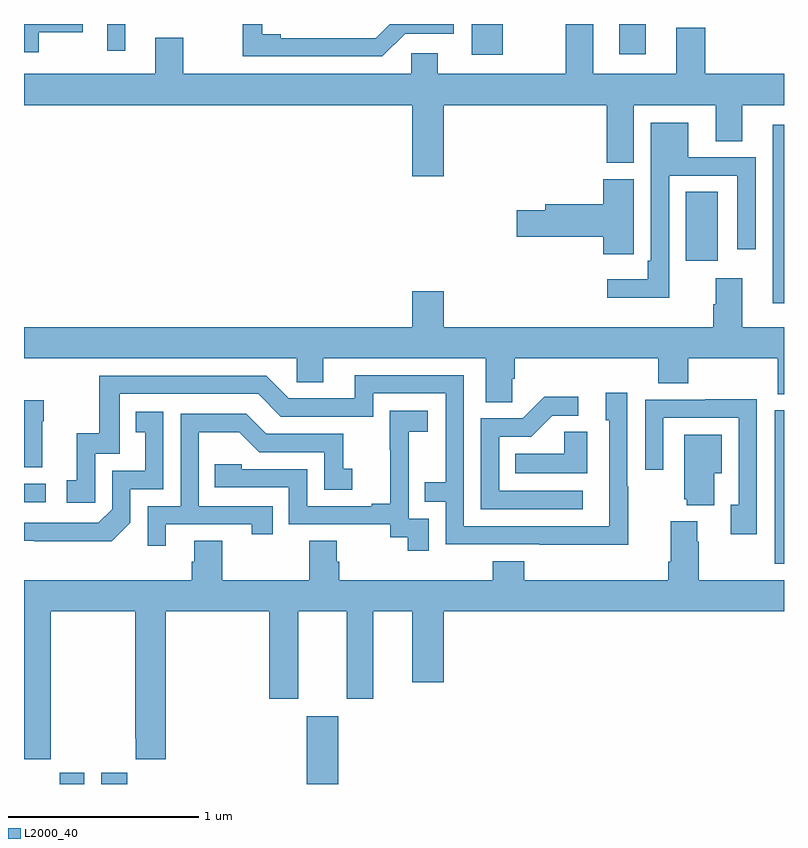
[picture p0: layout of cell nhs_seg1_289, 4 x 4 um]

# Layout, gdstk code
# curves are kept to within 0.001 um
import gdstk
lib = gdstk.Library(unit=1e-6, precision=1e-09)
def R(c, l, rs):  # rectangles x0, y0, x1, y1
    for r in rs: c.add(gdstk.rectangle(r[:2], r[2:], *l))
def P(c, l, *ps):  # polygons
    for p in ps: c.add(gdstk.Polygon(p, *l))
L2000_40 = (2000, 40)

nhs_seg1_289 = lib.new_cell('nhs_seg1_289')
R(nhs_seg1_289, L2000_40, [(127.187,508.199,127.318,508.258), (127.406,508.199,127.543,508.258), (128.489,508.199,128.653,508.555), (130.952,509.358,131,510.165), (127,509.682,127.114,509.778), (130.94,510.729,131,511.669), (130.484,510.954,130.651,511.316), (129.356,512.037,129.52,512.199), (130.133,512.04,130.273,512.199), (127.437,512.058,127.534,512.199)])
P(nhs_seg1_289, L2000_40, [(129.006,512.148),(129.261,512.148),(129.261,512.199),(128.925,512.199),(128.85,512.124),(128.35,512.124),(128.35,512.144),(128.254,512.144),(128.254,512.199),(128.152,512.199),(128.152,512.028),(128.886,512.028)],
  [(127.078,512.156),(127.309,512.156),(127.309,512.199),(127,512.199),(127,512.051),(127.078,512.051)],
  [(130.433,512.179),(130.433,511.936),(129.997,511.936),(129.997,512.199),(129.85,512.199),(129.85,511.936),(129.178,511.936),(129.178,512.046),(129.039,512.046),(129.039,511.936),(127.839,511.936),(127.839,512.126),(127.691,512.126),(127.691,511.936),(127,511.936),(127,511.772),(129.044,511.772),(129.044,511.398),(129.208,511.398),(129.208,511.772),(130.067,511.772),(130.067,511.468),(130.21,511.468),(130.21,511.772),(130.64,511.772),(130.64,511.582),(130.78,511.582),(130.78,511.772),(131,511.772),(131,511.936),(130.586,511.936),(130.586,512.179)],
  [(130.395,511.401),(130.755,511.401),(130.755,511.014),(130.851,511.014),(130.851,511.497),(130.495,511.497),(130.495,511.678),(130.299,511.678),(130.299,510.952),(130.283,510.952),(130.283,510.856),(130.071,510.856),(130.071,510.758),(130.395,510.758)],
  [(130.209,511.099),(130.21,511.099),(130.21,511.383),(130.049,511.383),(130.049,511.25),(129.743,511.25),(129.743,511.22),(129.594,511.22),(129.594,511.078),(130.049,511.078),(130.049,510.987),(130.209,510.987)],
  [(129.57,510.331),(129.584,510.331),(129.584,510.44),(130.337,510.44),(130.337,510.307),(130.497,510.307),(130.497,510.44),(130.966,510.44),(130.966,510.25),(131,510.25),(131,510.604),(130.78,510.604),(130.78,510.862),(130.64,510.862),(130.64,510.725),(130.628,510.725),(130.628,510.604),(129.208,510.604),(129.208,510.793),(129.044,510.793),(129.044,510.604),(127,510.604),(127,510.44),(128.436,510.44),(128.436,510.313),(128.575,510.313),(128.575,510.44),(129.431,510.44),(129.431,510.208),(129.57,510.208)],
  [(130.179,509.765),(130.176,509.765),(130.176,510.259),(130.061,510.259),(130.061,510.114),(130.08,510.114),(130.08,509.556),(129.315,509.556),(129.315,510.351),(128.741,510.351),(128.741,510.228),(128.394,510.228),(128.274,510.348),(127.395,510.348),(127.395,510.046),(127.277,510.046),(127.277,509.799),(127.224,509.799),(127.224,509.679),(127.374,509.679),(127.374,509.937),(127.503,509.937),(127.503,510.252),(128.232,510.252),(128.352,510.132),(128.838,510.132),(128.838,510.255),(129.219,510.255),(129.219,509.786),(129.109,509.786),(129.109,509.685),(129.219,509.685),(129.219,509.46),(130.179,509.459)],
  [(129.94,509.742),(129.501,509.742),(129.501,510.027),(129.67,510.027),(129.781,510.138),(129.916,510.138),(129.916,510.236),(129.737,510.236),(129.624,510.123),(129.405,510.123),(129.405,509.646),(129.94,509.646)],
  [(130.857,510.224),(130.585,510.224),(130.585,510.222),(130.269,510.222),(130.269,509.853),(130.365,509.853),(130.365,510.126),(130.761,510.126),(130.761,509.67),(130.721,509.67),(130.721,509.514),(130.857,509.514)],
  [(127.096,510.107),(127.104,510.107),(127.104,510.22),(127,510.22),(127,509.867),(127.096,509.867)],
  [(129.129,509.595),(129.024,509.595),(129.024,509.825),(129.026,509.825),(129.026,510.053),(129.124,510.053),(129.124,510.163),(128.926,510.163),(128.926,509.957),(128.927,509.957),(128.927,509.674),(128.831,509.674),(128.831,509.661),(128.49,509.661),(128.49,509.856),(128.145,509.856),(128.145,509.883),(128.005,509.883),(128.005,509.76),(128.394,509.76),(128.394,509.565),(128.928,509.565),(128.928,509.497),(129.021,509.497),(129.021,509.427),(129.129,509.427)],
  [(127.56,509.574),(127.56,509.751),(127.734,509.751),(127.734,510.157),(127.588,510.157),(127.588,510.051),(127.637,510.051),(127.637,509.847),(127.464,509.847),(127.464,509.646),(127.392,509.574),(127,509.574),(127,509.478),(127.054,509.477),(127.462,509.477)],
  [(127.747,509.565),(128.198,509.565),(128.198,509.514),(128.309,509.514),(128.309,509.661),(127.92,509.661),(127.92,510.05),(128.134,510.05),(128.238,509.946),(128.58,509.946),(128.58,509.748),(128.727,509.748),(128.727,509.857),(128.679,509.857),(128.679,510.042),(128.275,510.042),(128.17,510.147),(127.824,510.147),(127.824,509.661),(127.65,509.661),(127.65,509.454),(127.747,509.454)],
  [(129.964,510.053),(129.843,510.053),(129.843,509.938),(129.586,509.938),(129.586,509.834),(129.964,509.834)],
  [(130.633,509.834),(130.672,509.834),(130.672,510.037),(130.475,510.037),(130.475,509.697),(130.487,509.697),(130.487,509.666),(130.633,509.666)],
  [(127.14,509.108),(127.585,509.108),(127.585,508.441),(127.589,508.441),(127.589,508.329),(127.745,508.329),(127.745,509.108),(128.291,509.108),(128.291,508.647),(128.443,508.647),(128.443,509.108),(128.699,509.108),(128.699,508.647),(128.839,508.647),(128.839,509.108),(129.044,509.108),(129.044,508.734),(129.208,508.734),(129.208,509.108),(131,509.108),(131,509.272),(130.551,509.272),(130.551,509.474),(130.543,509.474),(130.543,509.581),(130.403,509.581),(130.403,509.368),(130.391,509.368),(130.391,509.272),(129.632,509.272),(129.632,509.371),(129.467,509.371),(129.467,509.272),(128.66,509.272),(128.66,509.37),(128.647,509.37),(128.647,509.48),(128.5,509.48),(128.5,509.272),(128.043,509.272),(128.043,509.48),(127.895,509.48),(127.895,509.37),(127.883,509.37),(127.883,509.272),(127,509.272),(127,508.329),(127.14,508.329)])

lib.write_gds('nhs_seg1_289.gds')
